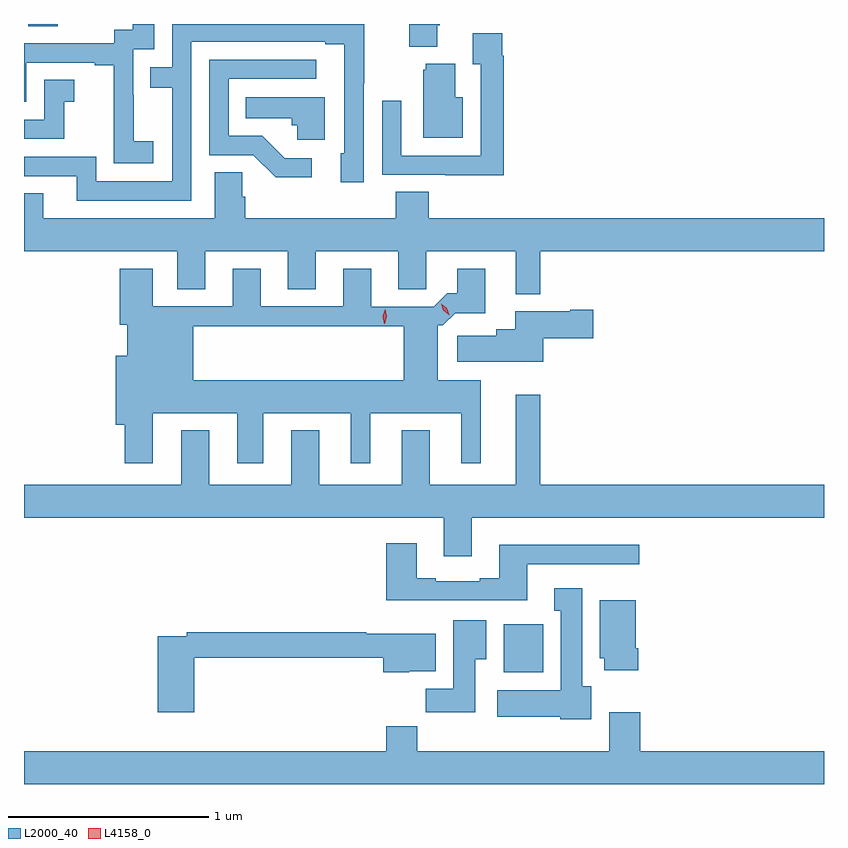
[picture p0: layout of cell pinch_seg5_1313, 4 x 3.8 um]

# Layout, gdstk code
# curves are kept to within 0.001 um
import gdstk
lib = gdstk.Library(unit=1e-6, precision=1e-09)
def R(c, l, rs):  # rectangles x0, y0, x1, y1
    for r in rs: c.add(gdstk.rectangle(r[:2], r[2:], *l))
def P(c, l, *ps):  # polygons
    for p in ps: c.add(gdstk.Polygon(p, *l))
L2000_40 = (2000, 40)
L4158_0 = (4158, 0)

pinch_seg5_1313 = lib.new_cell('pinch_seg5_1313')
R(pinch_seg5_1313, L2000_40, [(340.445,891.95,340.642,892.192), (338.068,895.18,338.215,895.192)])
P(pinch_seg5_1313, L2000_40, [(338.883,895.104),(339.551,895.104),(339.551,895.092),(339.648,895.092),(339.648,894.546),(339.629,894.546),(339.629,894.402),(339.744,894.402),(339.744,894.895),(339.747,894.895),(339.747,895.192),(338.787,895.192),(338.787,894.975),(338.677,894.975),(338.677,894.874),(338.787,894.874),(338.787,894.405),(338.406,894.405),(338.406,894.528),(338.046,894.528),(338.046,894.432),(338.309,894.432),(338.309,894.309),(338.883,894.309)],
  [(338.692,894.607),(338.594,894.607),(338.594,894.836),(338.592,894.836),(338.592,895.065),(338.697,895.065),(338.697,895.192),(338.589,895.192),(338.589,895.164),(338.496,895.164),(338.496,895.095),(338.046,895.095),(338.046,894.804),(338.058,894.804),(338.058,894.999),(338.399,894.999),(338.399,894.987),(338.495,894.987),(338.495,894.703),(338.494,894.703),(338.494,894.497),(338.692,894.497)],
  [(340.111,895.186),(340.124,895.186),(340.124,895.192),(339.971,895.192),(339.971,895.079),(340.111,895.079)],
  [(340.445,895.034),(340.438,895.034),(340.438,895.147),(340.289,895.147),(340.289,894.991),(340.329,894.991),(340.329,894.534),(339.933,894.534),(339.933,894.808),(339.837,894.808),(339.837,894.438),(340.153,894.438),(340.153,894.437),(340.445,894.437)],
  [(339.484,894.522),(339.349,894.522),(339.238,894.633),(339.069,894.633),(339.069,894.918),(339.508,894.918),(339.508,895.014),(338.973,895.014),(338.973,894.537),(339.192,894.537),(339.305,894.425),(339.484,894.425)],
  [(340.24,894.826),(340.201,894.826),(340.201,894.994),(340.055,894.994),(340.055,894.963),(340.043,894.963),(340.043,894.623),(340.24,894.623)],
  [(338.247,894.803),(338.296,894.803),(338.296,894.913),(338.148,894.913),(338.148,894.714),(338.046,894.714),(338.046,894.618),(338.247,894.618)],
  [(339.55,894.826),(339.154,894.826),(339.154,894.722),(339.385,894.722),(339.385,894.687),(339.411,894.687),(339.411,894.614),(339.55,894.614)],
  [(340.627,894.056),(342.046,894.056),(342.046,894.22),(340.07,894.22),(340.07,894.353),(339.905,894.353),(339.905,894.22),(339.152,894.22),(339.152,894.329),(339.138,894.329),(339.138,894.452),(338.999,894.452),(338.999,894.22),(338.143,894.22),(338.143,894.347),(338.046,894.347),(338.046,894.056),(338.813,894.056),(338.813,893.866),(338.953,893.866),(338.953,894.056),(339.365,894.056),(339.365,893.866),(339.505,893.866),(339.505,894.056),(339.917,894.056),(339.917,893.866),(340.056,893.866),(340.056,894.056),(340.505,894.056),(340.505,893.84),(340.627,893.84)],
  [(338.549,893.189),(338.549,892.995),(338.689,892.995),(338.689,893.246),(339.113,893.246),(339.113,892.995),(339.241,892.995),(339.241,893.246),(339.68,893.246),(339.68,892.995),(339.778,892.995),(339.778,893.246),(340.232,893.246),(340.232,892.995),(340.33,892.995),(340.33,893.41),(340.114,893.41),(340.114,893.685),(340.14,893.685),(340.202,893.747),(340.351,893.747),(340.351,893.968),(340.211,893.968),(340.211,893.845),(340.162,893.845),(340.095,893.778),(339.781,893.778),(339.781,893.968),(339.641,893.968),(339.641,893.781),(339.229,893.781),(339.229,893.968),(339.089,893.968),(339.089,893.781),(338.689,893.781),(338.689,893.968),(338.525,893.968),(338.525,893.688),(338.561,893.688),(338.561,893.533),(338.504,893.533),(338.504,893.41),(338.893,893.41),(338.893,893.68),(339.944,893.68),(339.944,893.41),(338.504,893.41),(338.504,893.189)],
  [(340.642,893.621),(340.891,893.621),(340.891,893.763),(340.778,893.763),(340.778,893.755),(340.502,893.755),(340.502,893.665),(340.406,893.665),(340.406,893.633),(340.212,893.633),(340.212,893.504),(340.642,893.504)],
  [(340.285,892.724),(342.046,892.724),(342.046,892.888),(340.627,892.888),(340.627,893.338),(340.505,893.338),(340.505,892.888),(340.075,892.888),(340.075,893.161),(339.935,893.161),(339.935,892.888),(339.523,892.888),(339.523,893.161),(339.383,893.161),(339.383,892.888),(338.971,892.888),(338.971,893.161),(338.831,893.161),(338.831,892.888),(338.046,892.888),(338.046,892.724),(340.145,892.724),(340.145,892.53),(340.285,892.53)],
  [(340.097,892.311),(340.561,892.311),(340.561,892.491),(341.122,892.491),(341.122,892.588),(340.421,892.588),(340.421,892.42),(340.325,892.42),(340.325,892.407),(340.105,892.407),(340.105,892.42),(340.009,892.42),(340.009,892.597),(339.857,892.597),(339.857,892.31),(340.097,892.31)],
  [(340.882,891.882),(340.837,891.882),(340.837,892.372),(340.697,892.372),(340.697,892.259),(340.73,892.259),(340.73,891.862),(340.413,891.862),(340.413,891.728),(340.728,891.728),(340.728,891.716),(340.882,891.716)],
  [(341.117,892.072),(341.104,892.072),(341.104,892.312),(340.925,892.312),(340.925,892.02),(340.946,892.02),(340.946,891.96),(341.117,891.96)],
  [(340.303,892.016),(340.357,892.016),(340.357,892.21),(340.193,892.21),(340.193,891.868),(340.054,891.868),(340.054,891.75),(340.303,891.75)],
  [(338.897,892.023),(339.842,892.023),(339.842,891.95),(339.972,891.95),(339.972,891.956),(340.105,891.956),(340.105,892.144),(339.758,892.144),(339.758,892.151),(338.86,892.151),(338.86,892.131),(338.714,892.131),(338.714,891.75),(338.897,891.75)],
  [(342.046,891.556),(341.126,891.556),(341.126,891.751),(340.973,891.751),(340.973,891.556),(340.013,891.556),(340.013,891.68),(339.857,891.68),(339.857,891.556),(338.046,891.556),(338.046,891.392),(342.046,891.392)])
P(pinch_seg5_1313, L4158_0, [(340.17,893.738),(340.143,893.76),(340.131,893.793),(340.131,893.793),(340.131,893.793),(340.159,893.771),(340.171,893.738),(340.171,893.738)],
  [(339.848,893.694),(339.848,893.694),(339.84,893.73),(339.852,893.766),(339.852,893.766),(339.852,893.766),(339.86,893.73),(339.849,893.694)])

lib.write_gds('pinch_seg5_1313.gds')
